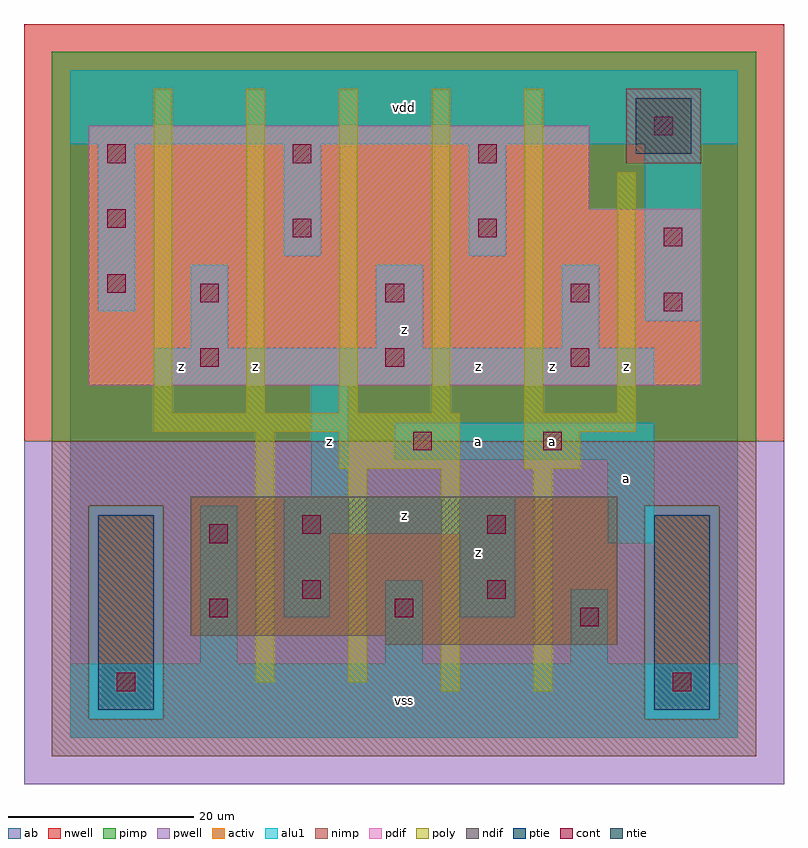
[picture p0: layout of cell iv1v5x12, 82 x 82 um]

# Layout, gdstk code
import gdstk
lib = gdstk.Library(unit=1e-6, precision=1e-09)
def R(c, l, rs):  # rectangles x0, y0, x1, y1
    for r in rs: c.add(gdstk.rectangle(r[:2], r[2:], *l))
def A(c, l, x, y, w, h, nx, ny, dx, dy):  # array of equal rectangles
    R(c, l, [(x+i*dx, y+j*dy, x+i*dx+w, y+j*dy+h) for i in range(nx) for j in range(ny)])
ndif = (3, 0)
pdif = (4, 0)
ntie = (5, 0)
ptie = (6, 0)
cont = (25, 0)
pwell = (41, 0)
nwell = (42, 0)
activ = (43, 0)
pimp = (44, 0)
nimp = (45, 0)
poly = (46, 0)
alu1 = (49, 0)
ab = (63, 0)

iv1v5x12 = lib.new_cell('iv1v5x12')
R(iv1v5x12, ndif, [(34,10,59,11), (13,11,59,26)])
R(iv1v5x12, pdif, [(2,38,68,57), (2,57,56,66)])
R(iv1v5x12, ntie, [(61,63,67,69)])
R(iv1v5x12, ptie, [(3,3,9,24), (63,3,69,24)])
A(iv1v5x12, cont, 14, 40, 2, 2, 3, 2, 20, 7)
A(iv1v5x12, cont, 4, 62, 2, 2, 3, 1, 20, 0)
R(iv1v5x12, cont, [(5,5,7,7), (65,5,67,7), (55,12,57,14), (15,13,17,15), (35,13,37,15), (25,15,27,17), (45,15,47,17), (15,21,17,23), (25,22,27,24), (45,22,47,24), (37,31,39,33), (51,31,53,33), (64,46,66,48), (4,48,6,50), (64,53,66,55), (24,54,26,56), (44,54,46,56), (4,55,6,57), (63,65,65,67)])
R(iv1v5x12, pwell, [(-5,-5,77,32)])
R(iv1v5x12, nwell, [(-5,32,77,77)])
R(iv1v5x12, activ, [(3,3,9,24), (63,3,69,24), (34,10,59,11), (13,11,59,26), (2,38,68,57), (2,57,56,66), (61,63,67,69)])
R(iv1v5x12, pimp, [(2,2,10,25), (62,2,70,25), (-2,32,74,62), (-2,62,60,70), (68,62,74,70), (-2,70,74,74)])
R(iv1v5x12, nimp, [(-2,-2,74,2), (-2,2,2,25), (10,2,62,25), (70,2,74,25), (-2,25,74,32), (60,62,68,70)])
A(iv1v5x12, poly, 9, 35, 2, 35, 5, 1, 10, 0)
R(iv1v5x12, poly, [(40,5,42,29), (50,5,52,29), (20,6,22,33), (30,6,32,29), (29,29,42,33), (49,29,55,33), (9,33,42,35), (49,33,61,35), (59,35,61,61)])
R(iv1v5x12, alu1, [(0,0,72,8), (14,8,18,25), (34,8,38,17), (54,8,58,16), (23,13,28,22), (42,13,48,22), (58,21,63,30), (23,22,48,26), (26,26,30,38), (35,30,63,34), (9,38,63,42), (13,42,17,51), (33,42,38,51), (53,42,57,51), (62,45,68,64), (3,46,7,64), (23,52,27,64), (43,52,47,64), (0,64,72,72)])
R(iv1v5x12, ab, [(0,0,72,72)])
iv1v5x12.add(gdstk.Label('z', (12,40), layer=49, texttype=0))
iv1v5x12.add(gdstk.Label('z', (28,32), layer=49, texttype=0))
iv1v5x12.add(gdstk.Label('z', (20,40), layer=49, texttype=0))
iv1v5x12.add(gdstk.Label('vss', (36,4), layer=49, texttype=0))
iv1v5x12.add(gdstk.Label('z', (44,20), layer=49, texttype=0))
iv1v5x12.add(gdstk.Label('z', (36,24), layer=49, texttype=0))
iv1v5x12.add(gdstk.Label('a', (44,32), layer=49, texttype=0))
iv1v5x12.add(gdstk.Label('a', (52,32), layer=49, texttype=0))
iv1v5x12.add(gdstk.Label('z', (44,40), layer=49, texttype=0))
iv1v5x12.add(gdstk.Label('z', (52,40), layer=49, texttype=0))
iv1v5x12.add(gdstk.Label('z', (36,44), layer=49, texttype=0))
iv1v5x12.add(gdstk.Label('vdd', (36,68), layer=49, texttype=0))
iv1v5x12.add(gdstk.Label('a', (60,28), layer=49, texttype=0))
iv1v5x12.add(gdstk.Label('z', (60,40), layer=49, texttype=0))

lib.write_gds('iv1v5x12.gds')
